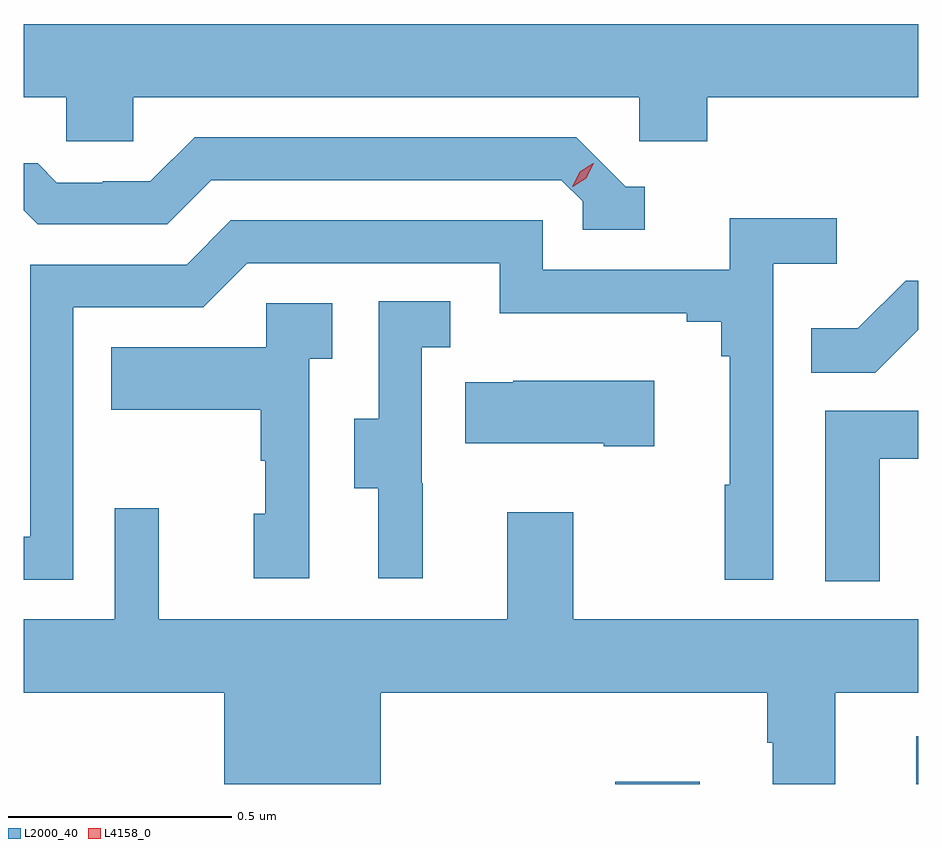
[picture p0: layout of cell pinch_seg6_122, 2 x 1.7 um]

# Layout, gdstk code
import gdstk
lib = gdstk.Library(unit=1e-6, precision=1e-09)
def R(c, l, rs):  # rectangles x0, y0, x1, y1
    for r in rs: c.add(gdstk.rectangle(r[:2], r[2:], *l))
def P(c, l, *ps):  # polygons
    for p in ps: c.add(gdstk.Polygon(p, *l))
L2000_40 = (2000, 40)
L4158_0 = (4158, 0)

pinch_seg6_122 = lib.new_cell('pinch_seg6_122')
R(pinch_seg6_122, L2000_40, [(985.183,931.148,985.372,931.153), (985.856,931.148,985.86,931.255)])
P(pinch_seg6_122, L2000_40, [(984.105,932.684),(985.236,932.684),(985.236,932.586),(985.388,932.586),(985.388,932.684),(985.86,932.684),(985.86,932.848),(983.86,932.848),(983.86,932.684),(983.955,932.684),(983.955,932.586),(984.105,932.586)],
  [(985.249,932.484),(985.206,932.484),(985.095,932.595),(984.242,932.595),(984.143,932.496),(984.036,932.496),(984.036,932.493),(983.933,932.493),(983.891,932.536),(983.86,932.536),(983.86,932.431),(983.891,932.4),(984.18,932.4),(984.279,932.499),(985.062,932.499),(985.11,932.451),(985.11,932.388),(985.249,932.388)],
  [(983.97,932.214),(984.261,932.214),(984.36,932.313),(984.924,932.313),(984.924,932.201),(985.343,932.201),(985.343,932.182),(985.42,932.182),(985.42,932.105),(985.439,932.105),(985.439,931.817),(985.428,931.817),(985.428,931.605),(985.536,931.605),(985.536,932.312),(985.678,932.312),(985.678,932.414),(985.439,932.414),(985.439,932.298),(985.02,932.298),(985.02,932.409),(984.323,932.409),(984.224,932.31),(983.874,932.31),(983.874,931.701),(983.86,931.701),(983.86,931.605),(983.97,931.605)],
  [(985.86,932.164),(985.86,932.274),(985.832,932.274),(985.725,932.167),(985.621,932.167),(985.621,932.068),(985.764,932.068)],
  [(984.752,931.821),(984.75,931.821),(984.75,932.125),(984.814,932.125),(984.814,932.228),(984.654,932.228),(984.654,931.965),(984.599,931.965),(984.599,931.81),(984.653,931.81),(984.653,931.608),(984.752,931.608)],
  [(984.498,932.099),(984.55,932.099),(984.55,932.223),(984.402,932.223),(984.402,932.125),(984.055,932.125),(984.055,931.985),(984.39,931.985),(984.39,931.871),(984.4,931.871),(984.4,931.752),(984.374,931.752),(984.374,931.608),(984.498,931.608)],
  [(985.27,932.05),(984.955,932.05),(984.955,932.047),(984.847,932.047),(984.847,931.91),(985.157,931.91),(985.157,931.903),(985.27,931.903)],
  [(985.774,931.875),(985.86,931.875),(985.86,931.983),(985.652,931.983),(985.652,931.601),(985.774,931.601)],
  [(984.658,931.352),(985.523,931.352),(985.523,931.24),(985.535,931.24),(985.535,931.148),(985.675,931.148),(985.675,931.352),(985.86,931.352),(985.86,931.516),(985.089,931.516),(985.089,931.756),(984.941,931.756),(984.941,931.516),(984.161,931.516),(984.161,931.765),(984.063,931.765),(984.063,931.516),(983.86,931.516),(983.86,931.352),(984.308,931.352),(984.308,931.148),(984.658,931.148)])
P(pinch_seg6_122, L4158_0, [(985.087,932.484),(985.087,932.484),(985.103,932.517),(985.134,932.536),(985.135,932.536),(985.135,932.536),(985.118,932.503),(985.088,932.484)])

lib.write_gds('pinch_seg6_122.gds')
